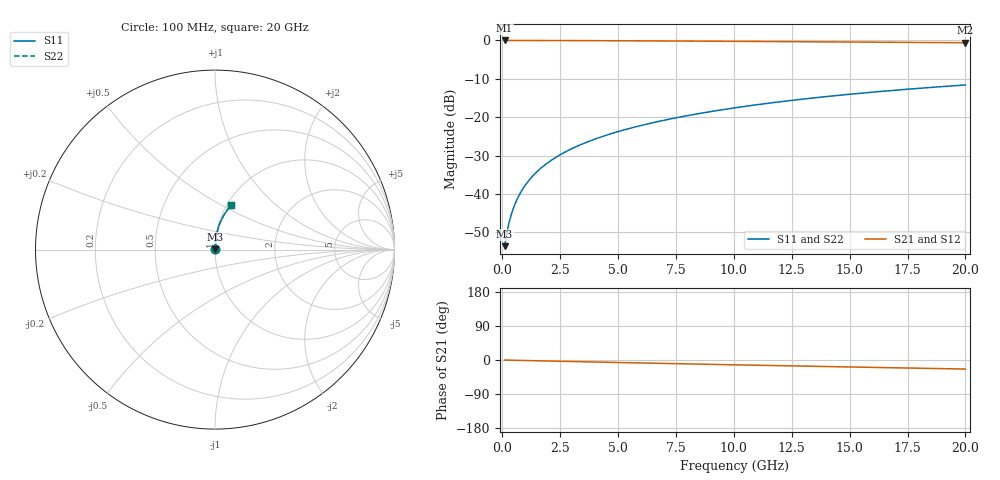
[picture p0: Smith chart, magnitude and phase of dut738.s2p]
! Touchstone file exported from HFSS 2024.1.0
!  File:  C:/UserFiles/LocalFiles/RDL_TSV_Batchsim/temp_RDL_bottom_738_1779859205.aedt
!  Generated:  01:22:48 PM May 27, 2026
!  Design:  RDL_bottom
!  Project:  temp_RDL_bottom_738_1779859205
!  Setup:  Setup1
!  Solution:  Sweep
! Variables:
!  dtsv = 10.80580581um
!  hbump = 3um
!  htsv = 87.37um
!  ldown = 313.73um
!  lrdl = 100um
!  p = 40
!  p1 = 44.7um
!  rhole = 1um
!  t = 450um
!  tdown = 4.71um
!  trdl = 3.915915916um
!  wdown = 16.23um
!  wrdl = 20um
# GHz S MA R 50.000000
! Terminal data exported
! Port[1] = RDL1_T1
! Port[2] = RDL1_T2
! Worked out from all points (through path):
!   200 points, 100 MHz to 20 GHz, reference 50 ohm
!   highest |S21| = -0.01 dB at 100 MHz (marker M1); lowest = -0.6 dB at 20 GHz (marker M2)
!   group delay of S21, straight-line fit = 3.3 ps
!   lowest |S11| = -53.6 dB at 100 MHz (marker M3), VSWR 1.00, Z = 50.2 + j0.138 ohm
!   |S11| at or under -10 dB: start of sweep to end of sweep
!   |S22| runs from -53.6 to -11.6 dB; largest |S21 - S12| = 2e-15
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0.1  0.002093 40.9  0.9984 -0.1  0.9984 -0.1  0.002093 40.9
! Gamma 0 0 0 0
! Port Impedance 50 0 50 0
0.2  0.003159 58.6  0.9984 -0.3  0.9984 -0.3  0.003159 58.6
0.3  0.004339 66.9  0.9983 -0.4  0.9983 -0.4  0.004339 66.9
0.4  0.005556 71.7  0.9982 -0.6  0.9982 -0.6  0.005556 71.7
0.5  0.006795 74.8  0.9981 -0.7  0.9981 -0.7  0.006795 74.8
0.6  0.008047 77.0  0.9981 -0.8  0.9981 -0.8  0.008047 77.0
0.8  0.01058 79.8  0.9979 -1.1  0.9979 -1.1  0.01058 79.8
1.1  0.01441 82.0  0.9977 -1.5  0.9977 -1.5  0.01441 82.0
1.5  0.01955 83.6  0.9972 -2.0  0.9972 -2.0  0.01955 83.6
1.8  0.02341 84.2  0.9969 -2.4  0.9969 -2.4  0.02341 84.2
2.1  0.02728 84.5  0.9964 -2.8  0.9964 -2.8  0.02728 84.5
2.7  0.03502 84.9  0.9954 -3.6  0.9954 -3.6  0.03502 84.9
3.5  0.04538 85.0  0.9937 -4.7  0.9937 -4.7  0.04538 85.0
4.2  0.05449 84.8  0.992 -5.6  0.992 -5.6  0.05449 84.8
5  0.06496 84.5  0.9898 -6.6  0.9898 -6.6  0.06496 84.5
5.9  0.07683 84.0  0.987 -7.7  0.987 -7.7  0.07683 84.0
6.8  0.0888 83.5  0.9841 -8.9  0.9841 -8.9  0.0888 83.5
8.4  0.1103 82.2  0.9786 -10.8  0.9786 -10.8  0.1103 82.2
10.1  0.1333 80.7  0.9724 -12.8  0.9724 -12.8  0.1333 80.7
13.4  0.1778 77.2  0.9597 -16.6  0.9597 -16.6  0.1777 77.2
16.7  0.2212 73.6  0.9462 -20.3  0.9462 -20.3  0.2212 73.6
20  0.2628 69.9  0.932 -23.9  0.932 -23.9  0.2628 69.9
